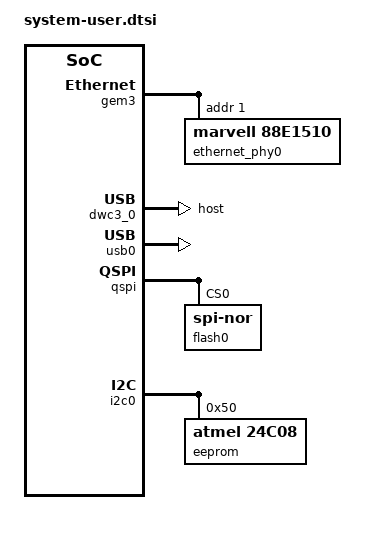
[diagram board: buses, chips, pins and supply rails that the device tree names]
/include/ "system-conf.dtsi"
/ {
  chosen {
    xlnx,eeprom = &eeprom;
  };
};
 
 
/* SDIO */
 
&sdhci1 {
   disable-wp;
   no-1-8-v;
};
 
/* ETH PHY */
&gem3 {
 
    status = "okay";
  ethernet_phy0: ethernet-phy@0 {
        compatible = "marvell,88e1510";
        device_type = "ethernet-phy";
            reg = <1>;
    };
};
/* USB 2.0 */
  
/* USB  */
&dwc3_0 {
    status = "okay";
    dr_mode = "host";
    maximum-speed = "high-speed";
    /delete-property/phy-names;
    /delete-property/phys;
    /delete-property/snps,usb3_lpm_capable;
     snps,dis_u2_susphy_quirk;
    snps,dis_u3_susphy_quirk;
};
    
&usb0 {
    status = "okay";
    /delete-property/ clocks;
    /delete-property/ clock-names;
    clocks = <0x3 0x20>;
    clock-names = "bus_clk";
};
 
 
 
 
/* QSPI PHY */
&qspi {
    #address-cells = <1>;
    #size-cells = <0>;
    status = "okay";
    flash0: flash@0 {
        compatible = "jedec,spi-nor";
        reg = <0x0>;
        #address-cells = <1>;
        #size-cells = <1>;
    };
};
 
&i2c0 {
  eeprom: eeprom@50 {
     compatible = "atmel,24c08";
     reg = <0x50>;
  };
};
